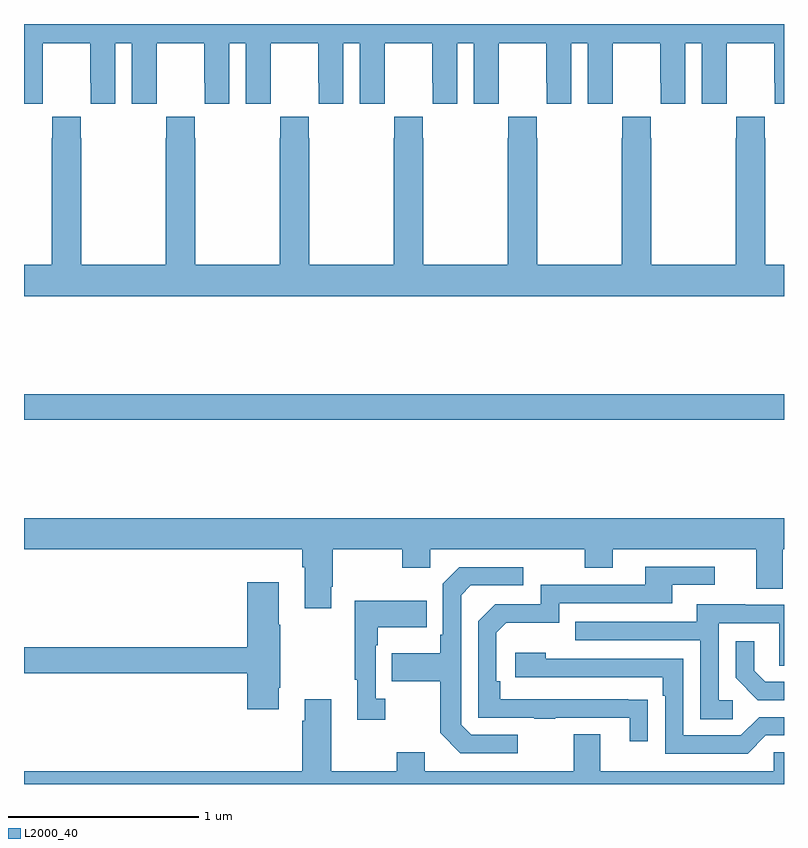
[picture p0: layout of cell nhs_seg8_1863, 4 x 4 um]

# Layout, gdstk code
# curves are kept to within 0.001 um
import gdstk
lib = gdstk.Library(unit=1e-6, precision=1e-09)
def R(c, l, rs):  # rectangles x0, y0, x1, y1
    for r in rs: c.add(gdstk.rectangle(r[:2], r[2:], *l))
def P(c, l, *ps):  # polygons
    for p in ps: c.add(gdstk.Polygon(p, *l))
L2000_40 = (2000, 40)

nhs_seg8_1863 = lib.new_cell('nhs_seg8_1863')
R(nhs_seg8_1863, L2000_40, [(229,1147.816,233,1147.952)])
P(nhs_seg8_1863, L2000_40, [(229,1149.48),(229.098,1149.48),(229.098,1149.592),(229.099,1149.592),(229.099,1149.8),(229.349,1149.8),(229.349,1149.592),(229.35,1149.592),(229.35,1149.48),(229.48,1149.48),(229.48,1149.8),(229.568,1149.8),(229.568,1149.48),(229.698,1149.48),(229.698,1149.592),(229.699,1149.592),(229.699,1149.8),(229.949,1149.8),(229.949,1149.592),(229.95,1149.592),(229.95,1149.48),(230.08,1149.48),(230.08,1149.8),(230.168,1149.8),(230.168,1149.48),(230.298,1149.48),(230.298,1149.592),(230.299,1149.592),(230.299,1149.8),(230.549,1149.8),(230.549,1149.592),(230.55,1149.592),(230.55,1149.48),(230.68,1149.48),(230.68,1149.8),(230.768,1149.8),(230.768,1149.48),(230.898,1149.48),(230.898,1149.592),(230.899,1149.592),(230.899,1149.8),(231.149,1149.8),(231.149,1149.592),(231.15,1149.592),(231.15,1149.48),(231.28,1149.48),(231.28,1149.8),(231.368,1149.8),(231.368,1149.48),(231.498,1149.48),(231.498,1149.592),(231.499,1149.592),(231.499,1149.8),(231.749,1149.8),(231.749,1149.592),(231.75,1149.592),(231.75,1149.48),(231.88,1149.48),(231.88,1149.8),(231.968,1149.8),(231.968,1149.48),(232.098,1149.48),(232.098,1149.592),(232.099,1149.592),(232.099,1149.8),(232.349,1149.8),(232.349,1149.592),(232.35,1149.592),(232.35,1149.48),(232.48,1149.48),(232.48,1149.8),(232.568,1149.8),(232.568,1149.48),(232.698,1149.48),(232.698,1149.592),(232.699,1149.592),(232.699,1149.8),(232.949,1149.8),(232.949,1149.592),(232.95,1149.592),(232.95,1149.48),(233,1149.48),(233,1149.9),(229,1149.9)],
  [(233,1148.632),(232.902,1148.632),(232.902,1149.299),(232.899,1149.299),(232.899,1149.412),(232.749,1149.412),(232.749,1149.299),(232.747,1149.299),(232.747,1148.632),(232.302,1148.632),(232.302,1149.299),(232.299,1149.299),(232.299,1149.412),(232.149,1149.412),(232.149,1149.299),(232.147,1149.299),(232.147,1148.632),(231.702,1148.632),(231.702,1149.299),(231.699,1149.299),(231.699,1149.412),(231.549,1149.412),(231.549,1149.299),(231.547,1149.299),(231.547,1148.632),(231.102,1148.632),(231.102,1149.299),(231.099,1149.299),(231.099,1149.412),(230.949,1149.412),(230.949,1149.299),(230.947,1149.299),(230.947,1148.632),(230.502,1148.632),(230.502,1149.299),(230.499,1149.299),(230.499,1149.412),(230.349,1149.412),(230.349,1149.299),(230.347,1149.299),(230.347,1148.632),(229.902,1148.632),(229.902,1149.299),(229.899,1149.299),(229.899,1149.412),(229.749,1149.412),(229.749,1149.299),(229.747,1149.299),(229.747,1148.632),(229.302,1148.632),(229.302,1149.299),(229.299,1149.299),(229.299,1149.412),(229.149,1149.412),(229.149,1149.299),(229.147,1149.299),(229.147,1148.632),(229,1148.632),(229,1148.468),(233,1148.468)],
  [(230.617,1146.937),(230.625,1146.937),(230.625,1147.136),(230.992,1147.136),(230.992,1147.037),(231.138,1147.037),(231.138,1147.136),(231.952,1147.136),(231.952,1147.037),(232.099,1147.037),(232.099,1147.136),(232.853,1147.136),(232.853,1146.928),(232.993,1146.928),(232.993,1147.136),(233,1147.136),(233,1147.3),(229,1147.3),(229,1147.136),(230.465,1147.136),(230.465,1147.04),(230.477,1147.04),(230.477,1146.825),(230.617,1146.825)],
  [(232.283,1146.344),(231.506,1146.345),(231.506,1146.442),(231.486,1146.442),(231.486,1146.696),(231.539,1146.749),(231.816,1146.749),(231.816,1146.852),(232.411,1146.852),(232.411,1146.948),(232.636,1146.948),(232.636,1147.044),(232.271,1147.044),(232.271,1146.948),(231.72,1146.948),(231.72,1146.846),(231.48,1146.846),(231.39,1146.756),(231.39,1146.249),(231.685,1146.249),(231.685,1146.244),(231.797,1146.244),(231.797,1146.249),(232.187,1146.249),(232.187,1146.126),(232.283,1146.126)],
  [(231.598,1146.159),(231.354,1146.159),(231.3,1146.213),(231.3,1146.894),(231.351,1146.945),(231.628,1146.945),(231.628,1147.041),(231.291,1147.041),(231.204,1146.954),(231.204,1146.685),(231.192,1146.685),(231.192,1146.589),(230.935,1146.589),(230.935,1146.442),(231.192,1146.442),(231.192,1146.169),(231.297,1146.063),(231.598,1146.063)],
  [(230.341,1146.406),(230.349,1146.406),(230.349,1146.737),(230.341,1146.737),(230.341,1146.961),(230.174,1146.961),(230.174,1146.62),(229,1146.62),(229,1146.484),(230.174,1146.484),(230.174,1146.294),(230.341,1146.294)],
  [(230.902,1146.35),(230.85,1146.35),(230.85,1146.629),(230.863,1146.629),(230.863,1146.725),(231.119,1146.725),(231.119,1146.865),(230.742,1146.865),(230.742,1146.449),(230.753,1146.449),(230.753,1146.237),(230.902,1146.237)],
  [(232.729,1146.342),(232.656,1146.342),(232.656,1146.747),(232.974,1146.747),(232.974,1146.523),(233,1146.523),(233,1146.843),(232.795,1146.843),(232.795,1146.847),(232.541,1146.847),(232.541,1146.753),(231.901,1146.753),(231.901,1146.657),(232.56,1146.657),(232.56,1146.241),(232.729,1146.241)],
  [(233,1146.438),(232.9,1146.438),(232.843,1146.495),(232.843,1146.652),(232.746,1146.652),(232.746,1146.458),(232.862,1146.342),(233,1146.342)],
  [(232.905,1146.156),(233,1146.156),(233,1146.252),(232.869,1146.252),(232.773,1146.156),(232.47,1146.156),(232.47,1146.558),(231.746,1146.558),(231.746,1146.592),(231.585,1146.592),(231.585,1146.462),(232.361,1146.462),(232.361,1146.365),(232.374,1146.365),(232.374,1146.06),(232.809,1146.06)],
  [(233,1146.066),(232.947,1146.066),(232.947,1145.968),(232.033,1145.968),(232.033,1146.163),(231.893,1146.163),(231.893,1145.968),(231.109,1145.968),(231.109,1146.067),(230.962,1146.067),(230.962,1145.968),(230.617,1145.968),(230.617,1146.346),(230.477,1146.346),(230.477,1146.233),(230.465,1146.233),(230.465,1145.968),(229,1145.968),(229,1145.9),(233,1145.9)])

lib.write_gds('nhs_seg8_1863.gds')
